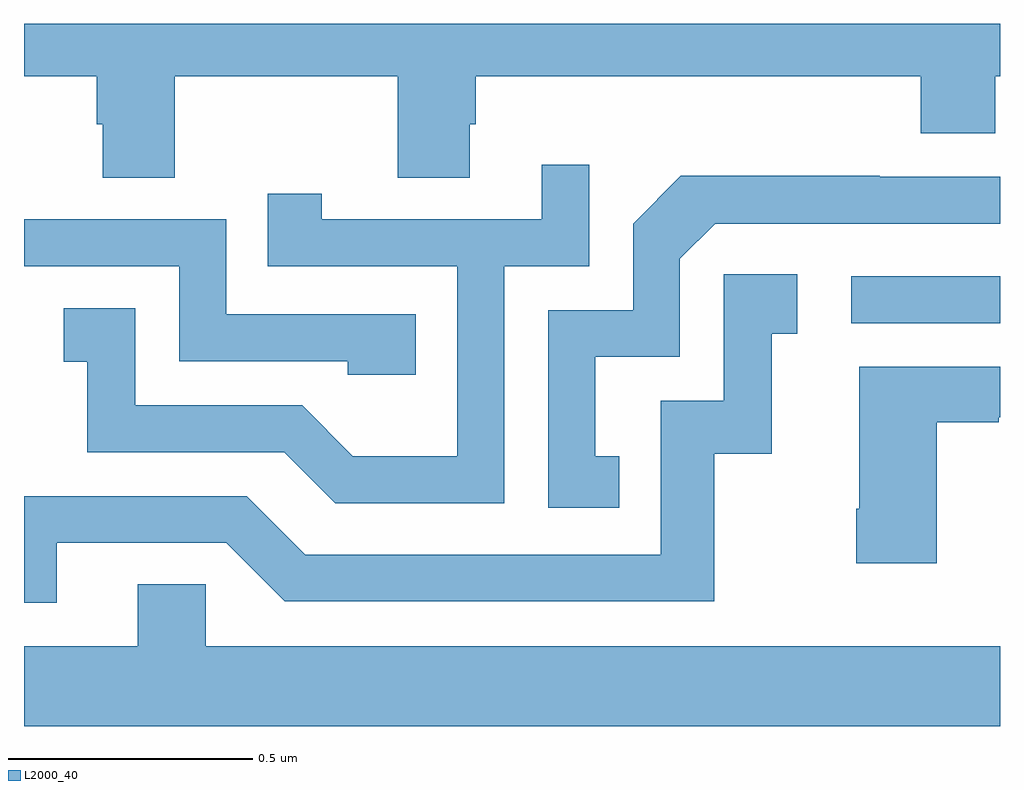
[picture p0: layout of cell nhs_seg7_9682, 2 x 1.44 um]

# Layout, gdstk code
import gdstk
lib = gdstk.Library(unit=1e-6, precision=1e-09)
def R(c, l, rs):  # rectangles x0, y0, x1, y1
    for r in rs: c.add(gdstk.rectangle(r[:2], r[2:], *l))
def P(c, l, *ps):  # polygons
    for p in ps: c.add(gdstk.Polygon(p, *l))
L2000_40 = (2000, 40)

nhs_seg7_9682 = lib.new_cell('nhs_seg7_9682')
R(nhs_seg7_9682, L2000_40, [(241.695,1057.386,242,1057.482)])
P(nhs_seg7_9682, L2000_40, [(240.309,1057.892),(240.766,1057.892),(240.766,1057.684),(240.913,1057.684),(240.913,1057.794),(240.926,1057.794),(240.926,1057.892),(241.838,1057.892),(241.838,1057.775),(241.99,1057.775),(241.99,1057.892),(242,1057.892),(242,1058),(240,1058),(240,1057.892),(240.149,1057.892),(240.149,1057.794),(240.161,1057.794),(240.161,1057.684),(240.309,1057.684)],
  [(240.984,1057.503),(241.158,1057.503),(241.158,1057.711),(241.061,1057.711),(241.061,1057.599),(240.61,1057.599),(240.61,1057.651),(240.499,1057.651),(240.499,1057.503),(240.888,1057.503),(240.888,1057.114),(240.674,1057.114),(240.57,1057.218),(240.228,1057.218),(240.228,1057.417),(240.081,1057.417),(240.081,1057.307),(240.13,1057.307),(240.13,1057.122),(240.533,1057.122),(240.638,1057.017),(240.984,1057.017)],
  [(241.22,1057.113),(241.171,1057.113),(241.171,1057.317),(241.344,1057.317),(241.344,1057.518),(241.416,1057.59),(242,1057.59),(242,1057.686),(241.754,1057.686),(241.754,1057.688),(241.346,1057.688),(241.248,1057.59),(241.248,1057.413),(241.074,1057.413),(241.074,1057.008),(241.22,1057.008)],
  [(240.803,1057.404),(240.414,1057.404),(240.414,1057.599),(240,1057.599),(240,1057.503),(240.318,1057.503),(240.318,1057.308),(240.663,1057.308),(240.663,1057.281),(240.803,1057.281)],
  [(240.067,1056.936),(240.414,1056.936),(240.534,1056.816),(241.414,1056.816),(241.414,1057.119),(241.532,1057.119),(241.532,1057.365),(241.585,1057.365),(241.585,1057.486),(241.434,1057.486),(241.434,1057.227),(241.305,1057.227),(241.305,1056.912),(240.576,1056.912),(240.456,1057.032),(240,1057.032),(240,1056.813),(240.067,1056.813)],
  [(241.87,1057.183),(241.997,1057.183),(241.997,1057.193),(242,1057.193),(242,1057.297),(241.712,1057.297),(241.712,1057.006),(241.705,1057.006),(241.705,1056.894),(241.87,1056.894)],
  [(242,1056.724),(240.372,1056.724),(240.372,1056.851),(240.233,1056.851),(240.233,1056.724),(240,1056.724),(240,1056.56),(242,1056.56)])

lib.write_gds('nhs_seg7_9682.gds')
